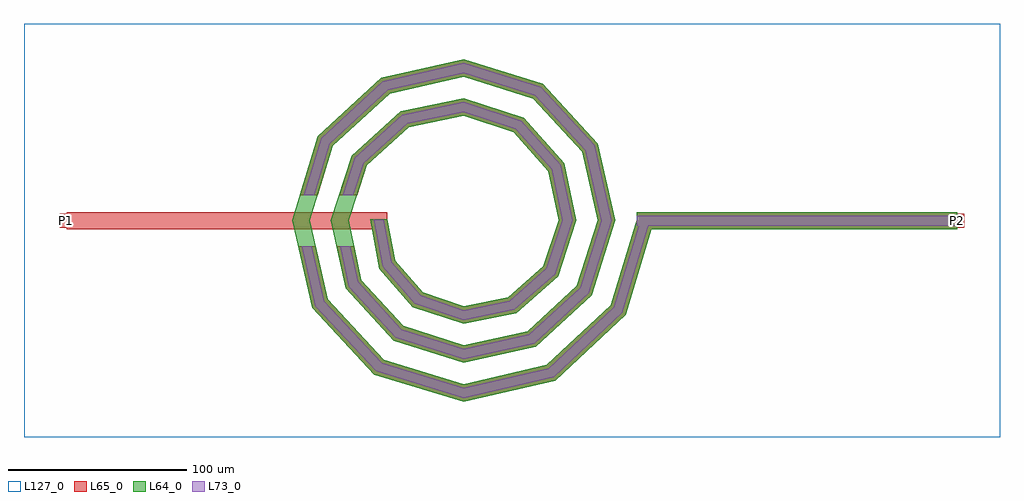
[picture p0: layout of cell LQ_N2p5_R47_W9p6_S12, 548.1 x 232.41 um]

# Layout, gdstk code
import gdstk
lib = gdstk.Library(unit=1e-6, precision=1e-09)
def R(c, l, rs):  # rectangles x0, y0, x1, y1
    for r in rs: c.add(gdstk.rectangle(r[:2], r[2:], *l))
def P(c, l, *ps):  # polygons
    for p in ps: c.add(gdstk.Polygon(p, *l))
L64_0 = (64, 0)
L65_0 = (65, 0)
L73_0 = (73, 0)
L127_0 = (127, 0)

lq_n2p5_r47_w9p6_s12 = lib.new_cell('LQ_N2p5_R47_W9p6_S12')
R(lq_n2p5_r47_w9p6_s12, L64_0, [(97.362,-4.8,277.362,4.8)])
P(lq_n2p5_r47_w9p6_s12, L64_0, [(-38.283,-22.497),(-22.826,-40.194),(0.318,-48.042),(25.197,-43.028),(44.907,-25.583),(53.503,0.288),(47.771,27.904),(28.336,49.623),(0.264,58.964),(-30.614,52.512),(-54.342,31.086),(-64.425,0.243),(-57.252,-33.328),(-33.833,-59.062),(0.225,-69.886),(36.044,-61.99),(63.784,-36.577),(75.348,0.21),(66.727,38.762),(39.32,68.507),(0.197,80.809),(-41.482,71.463),(-73.231,42.062),(-86.271,0.185),(-76.199,-44.203),(-44.802,-77.955),(0.175,-91.733),(46.925,-80.934),(82.68,-47.541),(97.569,1.397),(106.754,-1.397),(91.115,-52.8),(51.595,-89.708),(0.175,-101.666),(-50.077,-86.38),(-84.982,-48.855),(-96.204,0.185),(-81.644,47.355),(-46.114,80.258),(0.197,90.741),(44.634,76.907),(75.533,43.372),(85.279,0.21),(72.169,-41.915),(40.628,-70.81),(0.225,-79.816),(-39.198,-67.43),(-66.087,-37.882),(-74.353,0.243),(-62.69,36.482),(-35.133,61.366),(0.264,68.89),(33.77,57.948),(56.646,32.382),(63.427,0.288),(53.203,-31.061),(29.626,-51.929),(0.318,-57.963),(-28.356,-48.456),(-47.214,-26.865),(-52.253,0.915),(-42.829,0.915)])
R(lq_n2p5_r47_w9p6_s12, L65_0, [(-222.741,-4.8,-42.741,4.8), (97.362,-4.8,277.362,4.8), (-226.741,-4,-218.741,4), (273.362,-4,281.362,4)])
P(lq_n2p5_r47_w9p6_s12, L65_0, [(-76.199,-44.203),(-44.802,-77.955),(0.175,-91.733),(46.925,-80.934),(82.68,-47.541),(97.57,1.397),(106.754,-1.397),(91.115,-52.8),(51.595,-89.708),(0.175,-101.666),(-50.077,-86.38),(-84.983,-48.855),(-92.867,-14.4),(-83.018,-14.4)],
  [(-57.252,-33.328),(-33.833,-59.062),(0.225,-69.886),(36.044,-61.99),(63.784,-36.577),(75.348,0.21),(66.727,38.762),(39.32,68.507),(0.197,80.809),(-41.482,71.463),(-73.231,42.062),(-81.769,14.4),(-91.816,14.4),(-81.644,47.355),(-46.114,80.258),(0.197,90.741),(44.634,76.907),(75.533,43.372),(85.279,0.21),(72.169,-41.915),(40.628,-70.81),(0.225,-79.816),(-39.198,-67.43),(-66.087,-37.882),(-71.178,-14.4),(-61.355,-14.4)],
  [(-22.826,-40.194),(0.318,-48.042),(25.197,-43.028),(44.907,-25.583),(53.503,0.288),(47.771,27.904),(28.336,49.623),(0.264,58.964),(-30.614,52.512),(-54.342,31.086),(-59.712,14.4),(-69.797,14.4),(-62.69,36.482),(-35.133,61.366),(0.264,68.89),(33.77,57.948),(56.646,32.382),(63.427,0.288),(53.203,-31.061),(29.626,-51.929),(0.318,-57.963),(-28.356,-48.456),(-47.214,-26.865),(-52.253,0.915),(-42.829,0.915),(-38.283,-22.497)])
R(lq_n2p5_r47_w9p6_s12, L73_0, [(97.362,-2.8,277.362,2.8)])
P(lq_n2p5_r47_w9p6_s12, L73_0, [(-78.029,-45.172),(-45.901,-79.71),(0.102,-93.802),(47.898,-82.762),(84.438,-48.637),(99.483,0.815),(104.84,0.815),(89.358,-51.704),(50.622,-87.88),(0.102,-99.597),(-48.978,-84.625),(-83.153,-47.886),(-90.815,-14.4),(-85.07,-14.4)],
  [(-59.092,-34.277),(-34.951,-60.806),(0.132,-71.955),(36.999,-63.827),(65.531,-37.689),(77.417,0.123),(68.562,39.722),(40.427,70.257),(0.115,82.879),(-42.447,73.295),(-74.983,43.165),(-83.862,14.4),(-89.723,14.4),(-79.891,46.252),(-45.149,78.425),(0.115,88.672),(43.527,75.157),(73.699,42.412),(83.21,0.123),(70.422,-40.803),(39.673,-68.972),(0.132,-77.747),(-38.08,-65.687),(-64.247,-36.933),(-69.132,-14.4),(-63.402,-14.4)],
  [(-23.978,-41.915),(0.186,-50.109),(26.12,-44.882),(46.636,-26.725),(55.57,0.168),(49.62,28.837),(29.468,51.358),(0.154,61.032),(-31.556,54.357),(-56.081,32.21),(-61.813,14.4),(-67.696,14.4),(-60.951,35.358),(-34.192,59.522),(0.154,66.822),(32.638,56.214),(54.797,31.449),(61.359,0.168),(51.475,-29.92),(28.703,-50.074),(0.186,-55.896),(-27.204,-46.735),(-45.353,-25.955),(-50.289,0.534),(-44.792,0.534),(-40.143,-23.407)])
R(lq_n2p5_r47_w9p6_s12, L127_0, [(-246.741,-121.666,301.362,110.741)])
lq_n2p5_r47_w9p6_s12.add(gdstk.Label('P2', (277.362,0), layer=65, texttype=0))
lq_n2p5_r47_w9p6_s12.add(gdstk.Label('P1', (-222.741,0), layer=65, texttype=0))
lq_n2p5_r47_w9p6_s12.add(gdstk.Label('P2', (281.362,0), layer=145, texttype=0))
lq_n2p5_r47_w9p6_s12.add(gdstk.Label('P1', (-226.741,0), layer=145, texttype=0))

lib.write_gds('LQ_N2p5_R47_W9p6_S12.gds')
